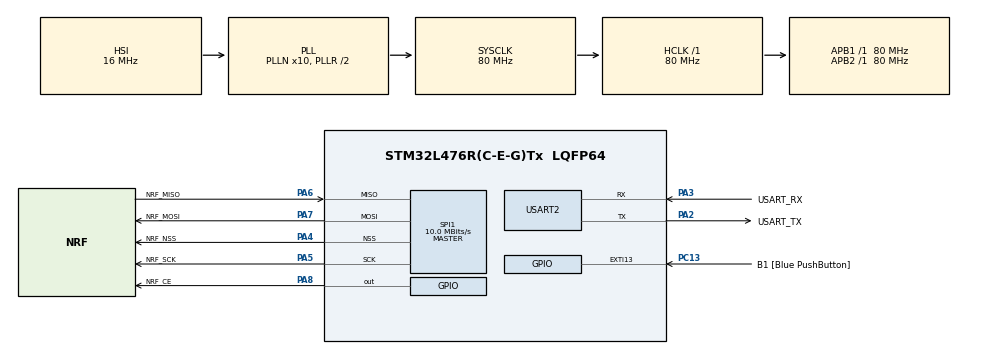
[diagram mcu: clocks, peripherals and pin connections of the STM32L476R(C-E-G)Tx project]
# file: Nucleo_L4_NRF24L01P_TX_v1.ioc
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Mcu.Family=STM32L4
Mcu.Name=STM32L476R(C-E-G)Tx
Mcu.Package=LQFP64
NVIC.PriorityGroup=NVIC_PRIORITYGROUP_4
PA13\ (JTMS-SWDIO).GPIO_Label=TMS
PA13\ (JTMS-SWDIO).Mode=Serial_Wire
PA13\ (JTMS-SWDIO).Signal=SYS_JTMS-SWDIO
PA14\ (JTCK-SWCLK).GPIO_Label=TCK
PA14\ (JTCK-SWCLK).Mode=Serial_Wire
PA14\ (JTCK-SWCLK).Signal=SYS_JTCK-SWCLK
PA2.GPIO_Label=USART_TX
PA2.GPIO_Mode=GPIO_MODE_AF_PP
PA2.GPIO_PuPd=GPIO_NOPULL
PA2.GPIO_Speed=GPIO_SPEED_FREQ_VERY_HIGH
PA2.Mode=Asynchronous
PA2.Signal=USART2_TX
PA3.GPIO_Label=USART_RX
PA3.GPIO_Mode=GPIO_MODE_AF_PP
PA3.GPIO_PuPd=GPIO_NOPULL
PA3.GPIO_Speed=GPIO_SPEED_FREQ_VERY_HIGH
PA3.Mode=Asynchronous
PA3.Signal=USART2_RX
PA4.GPIO_Label=NRF_NSS
PA4.Mode=NSS_Signal_Hard_Output
PA4.Signal=SPI1_NSS
PA5.GPIO_Label=NRF_SCK
PA5.Mode=Full_Duplex_Master
PA5.Signal=SPI1_SCK
PA6.GPIO_Label=NRF_MISO
PA6.Mode=Full_Duplex_Master
PA6.Signal=SPI1_MISO
PA7.GPIO_Label=NRF_MOSI
PA7.Mode=Full_Duplex_Master
PA7.Signal=SPI1_MOSI
PA8.GPIO_Label=NRF_CE
PA8.Signal=GPIO_Output
PB3\ (JTDO-TRACESWO).GPIO_Label=SWO
PB3\ (JTDO-TRACESWO).Signal=SYS_JTDO-SWO
PC13.GPIO_Label=B1 [Blue PushButton]
PC13.GPIO_ModeDefaultEXTI=GPIO_MODE_IT_FALLING
PC13.GPIO_PuPd=GPIO_NOPULL
PC13.Signal=GPXTI13
PC14-OSC32_IN\ (PC14).Mode=LSE-External-Oscillator
PC14-OSC32_IN\ (PC14).Signal=RCC_OSC32_IN
PC15-OSC32_OUT\ (PC15).Mode=LSE-External-Oscillator
PC15-OSC32_OUT\ (PC15).Signal=RCC_OSC32_OUT
PH0-OSC_IN\ (PH0).Signal=RCC_OSC_IN
PH1-OSC_OUT\ (PH1).Signal=RCC_OSC_OUT
ProjectManager.HeapSize=0x200
ProjectManager.StackSize=0x400
ProjectManager.TargetToolchain=SW4STM32
RCC.ADCFreq_Value=64000000
RCC.AHBFreq_Value=80000000
RCC.APB1Freq_Value=80000000
RCC.APB1TimFreq_Value=80000000
RCC.APB2Freq_Value=80000000
RCC.APB2TimFreq_Value=80000000
RCC.CortexFreq_Value=80000000
RCC.HCLKFreq_Value=80000000
RCC.HSE_VALUE=8000000
RCC.HSI_VALUE=16000000
RCC.MSI_VALUE=4000000
RCC.PLLN=10
RCC.PLLSourceVirtual=RCC_PLLSOURCE_HSI
RCC.PREFETCH_ENABLE=1
RCC.SYSCLKFreq_VALUE=80000000
RCC.SYSCLKSource=RCC_SYSCLKSOURCE_PLLCLK
RCC.USBFreq_Value=64000000
RCC.VCOOutputFreq_Value=160000000
SPI1.BaudRatePrescaler=SPI_BAUDRATEPRESCALER_8
SPI1.CalculateBaudRate=10.0 MBits/s
SPI1.DataSize=SPI_DATASIZE_8BIT
SPI1.Direction=SPI_DIRECTION_2LINES
SPI1.Mode=SPI_MODE_MASTER
SPI1.VirtualNSS=VM_NSSHARD
SPI1.VirtualType=VM_MASTER
USART2.VirtualMode-Asynchronous=VM_ASYNC
USART2.WordLength=WORDLENGTH_8B
board=NUCLEO-L476RG

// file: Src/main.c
/**
  ******************************************************************************
  * @file           : main.c
  * @brief          : Main program body
  ******************************************************************************
  ** This notice applies to any and all portions of this file
  * that are not between comment pairs USER CODE BEGIN and
  * USER CODE END. Other portions of this file, whether
  * inserted by the user or by software development tools
  * are owned by their respective copyright owners.
  *
  * COPYRIGHT(c) 2018 STMicroelectronics
  *
  * Redistribution and use in source and binary forms, with or without modification,
  * are permitted provided that the following conditions are met:
  *   1. Redistributions of source code must retain the above copyright notice,
  *      this list of conditions and the following disclaimer.
  *   2. Redistributions in binary form must reproduce the above copyright notice,
  *      this list of conditions and the following disclaimer in the documentation
  *      and/or other materials provided with the distribution.
  *   3. Neither the name of STMicroelectronics nor the names of its contributors
  *      may be used to endorse or promote products derived from this software
  *      without specific prior written permission.
  *
  * THIS SOFTWARE IS PROVIDED BY THE COPYRIGHT HOLDERS AND CONTRIBUTORS "AS IS"
  * AND ANY EXPRESS OR IMPLIED WARRANTIES, INCLUDING, BUT NOT LIMITED TO, THE
  * IMPLIED WARRANTIES OF MERCHANTABILITY AND FITNESS FOR A PARTICULAR PURPOSE ARE
  * DISCLAIMED. IN NO EVENT SHALL THE COPYRIGHT HOLDER OR CONTRIBUTORS BE LIABLE
  * FOR ANY DIRECT, INDIRECT, INCIDENTAL, SPECIAL, EXEMPLARY, OR CONSEQUENTIAL
  * DAMAGES (INCLUDING, BUT NOT LIMITED TO, PROCUREMENT OF SUBSTITUTE GOODS OR
  * SERVICES; LOSS OF USE, DATA, OR PROFITS; OR BUSINESS INTERRUPTION) HOWEVER
  * CAUSED AND ON ANY THEORY OF LIABILITY, WHETHER IN CONTRACT, STRICT LIABILITY,
  * OR TORT (INCLUDING NEGLIGENCE OR OTHERWISE) ARISING IN ANY WAY OUT OF THE USE
  * OF THIS SOFTWARE, EVEN IF ADVISED OF THE POSSIBILITY OF SUCH DAMAGE.
  *
  ******************************************************************************
  */
#include "main.h"
#include "stm32l4xx_hal.h"

/* USER CODE BEGIN Includes */
#include <nRF24L01P.h>
#include <string.h>

#define true 1
#define false 0
uint8_t dataOut[32], dataIn[32];
/* My address */
uint8_t MyAddress[] = {
    0xE7,
	0xE7,
	0xE7,
	0xE7,
	0xE7
};
/* Receiver address */
uint8_t TxAddress[] = {
		0xE7,
		0xE7,
		0xE7,
		0xE7,
		0xE7
};
TM_NRF24L01_Transmit_Status_t transmissionStatus;
/* USER CODE END Includes */

SPI_HandleTypeDef hspi1;

UART_HandleTypeDef huart2;

/* USER CODE BEGIN PV */
/* Private variables ---------------------------------------------------------*/

/* USER CODE END PV */

void SystemClock_Config(void);
static void MX_GPIO_Init(void);
static void MX_USART2_UART_Init(void);
static void MX_SPI1_Init(void);

/* USER CODE BEGIN PFP */
/* Private function prototypes -----------------------------------------------*/
void NRF_Send(void);
/* USER CODE END PFP */

int main(void)
{

  /* MCU Configuration----------------------------------------------------------*/

  /* Reset of all peripherals, Initializes the Flash interface and the Systick. */
  HAL_Init();

  /* Configure the system clock */
  SystemClock_Config();

  /* Initialize all configured peripherals */
  MX_GPIO_Init();
  MX_USART2_UART_Init();
  MX_SPI1_Init();
  /* USER CODE BEGIN 2 */

	if (HAL_SPIEx_FlushRxFifo(&hspi1)){
		Error_Handler();
	}

  char WELCOME_MSG[]="Welcome to STM32 RX\r\n";
  HAL_UART_Transmit(&huart2, (uint8_t*)WELCOME_MSG, strlen(WELCOME_MSG), HAL_MAX_DELAY);

  TM_NRF24L01_SoftwareReset(&hspi1);
  TM_NRF24L01_Init(&hspi1, 76, 32);
  TM_NRF24L01_setCrcWidth(&hspi1, 8);

  TM_NRF24L01_disableAutoAcknowledge(&hspi1);
  TM_NRF24L01_SetMyAddress(&hspi1,MyAddress);
  TM_NRF24L01_SetTxAddress(&hspi1,TxAddress);
  TM_NRF24L01_SetChannel(&hspi1, 50);
  TM_NRF24L01_SetRF(&hspi1, TM_NRF24L01_DataRate_1M, TM_NRF24L01_OutputPower_M18dBm);

  /* Set my address, 5 bytes */
  TM_NRF24L01_SetMyAddress(&hspi1,MyAddress);
  /* Set TX address, 5 bytes */

  TM_NRF24L01_SetTxAddress(&hspi1,TxAddress);
  //TM_NRF24L01_SetTxAddress(&hspi1,TxAddress);
  TM_NRF24L01_PowerUpTx(&hspi1);
  /* USER CODE END 2 */

  /* Infinite loop */
  while (1)
  {

  /* USER CODE BEGIN 3 */
  NRF_Send();
  HAL_Delay(2000);
  }
  /* USER CODE END 3 */

}

void SystemClock_Config(void)
{

  RCC_OscInitTypeDef RCC_OscInitStruct;
  RCC_ClkInitTypeDef RCC_ClkInitStruct;
  RCC_PeriphCLKInitTypeDef PeriphClkInit;

    /**Initializes the CPU, AHB and APB busses clocks
    */
  RCC_OscInitStruct.OscillatorType = RCC_OSCILLATORTYPE_HSI;
  RCC_OscInitStruct.HSIState = RCC_HSI_ON;
  RCC_OscInitStruct.HSICalibrationValue = 16;
  RCC_OscInitStruct.PLL.PLLState = RCC_PLL_ON;
  RCC_OscInitStruct.PLL.PLLSource = RCC_PLLSOURCE_HSI;
  RCC_OscInitStruct.PLL.PLLN = 10;
  RCC_OscInitStruct.PLL.PLLP = RCC_PLLP_DIV7;
  RCC_OscInitStruct.PLL.PLLQ = RCC_PLLQ_DIV2;
  RCC_OscInitStruct.PLL.PLLR = RCC_PLLR_DIV2;
  if (HAL_RCC_OscConfig(&RCC_OscInitStruct) != HAL_OK)
  {
    _Error_Handler(__FILE__, __LINE__);
  }

    /**Initializes the CPU, AHB and APB busses clocks
    */
  RCC_ClkInitStruct.ClockType = RCC_CLOCKTYPE_HCLK|RCC_CLOCKTYPE_SYSCLK
                              |RCC_CLOCKTYPE_PCLK1|RCC_CLOCKTYPE_PCLK2;
  RCC_ClkInitStruct.SYSCLKSource = RCC_SYSCLKSOURCE_PLLCLK;
  RCC_ClkInitStruct.AHBCLKDivider = RCC_SYSCLK_DIV1;
  RCC_ClkInitStruct.APB1CLKDivider = RCC_HCLK_DIV1;
  RCC_ClkInitStruct.APB2CLKDivider = RCC_HCLK_DIV1;

  if (HAL_RCC_ClockConfig(&RCC_ClkInitStruct, FLASH_LATENCY_4) != HAL_OK)
  {
    _Error_Handler(__FILE__, __LINE__);
  }

  PeriphClkInit.PeriphClockSelection = RCC_PERIPHCLK_USART2;
  PeriphClkInit.Usart2ClockSelection = RCC_USART2CLKSOURCE_PCLK1;
  if (HAL_RCCEx_PeriphCLKConfig(&PeriphClkInit) != HAL_OK)
  {
    _Error_Handler(__FILE__, __LINE__);
  }

    /**Configure the main internal regulator output voltage
    */
  if (HAL_PWREx_ControlVoltageScaling(PWR_REGULATOR_VOLTAGE_SCALE1) != HAL_OK)
  {
    _Error_Handler(__FILE__, __LINE__);
  }

    /**Configure the Systick interrupt time
    */
  HAL_SYSTICK_Config(HAL_RCC_GetHCLKFreq()/1000);

    /**Configure the Systick
    */
  HAL_SYSTICK_CLKSourceConfig(SYSTICK_CLKSOURCE_HCLK);

  /* SysTick_IRQn interrupt configuration */
  HAL_NVIC_SetPriority(SysTick_IRQn, 0, 0);
}

/* SPI1 init function */
static void MX_SPI1_Init(void)
{

  /* SPI1 parameter configuration*/
  hspi1.Instance = SPI1;
  hspi1.Init.Mode = SPI_MODE_MASTER;
  hspi1.Init.Direction = SPI_DIRECTION_2LINES;
  hspi1.Init.DataSize = SPI_DATASIZE_8BIT;
  hspi1.Init.CLKPolarity = SPI_POLARITY_LOW;
  hspi1.Init.CLKPhase = SPI_PHASE_1EDGE;
  hspi1.Init.NSS = SPI_NSS_HARD_OUTPUT;
  hspi1.Init.BaudRatePrescaler = SPI_BAUDRATEPRESCALER_8;
  hspi1.Init.FirstBit = SPI_FIRSTBIT_MSB;
  hspi1.Init.TIMode = SPI_TIMODE_DISABLE;
  hspi1.Init.CRCCalculation = SPI_CRCCALCULATION_DISABLE;
  hspi1.Init.CRCPolynomial = 7;
  hspi1.Init.CRCLength = SPI_CRC_LENGTH_DATASIZE;
  hspi1.Init.NSSPMode = SPI_NSS_PULSE_ENABLE;
  if (HAL_SPI_Init(&hspi1) != HAL_OK)
  {
    _Error_Handler(__FILE__, __LINE__);
  }

}

/* USART2 init function */
static void MX_USART2_UART_Init(void)
{

  huart2.Instance = USART2;
  huart2.Init.BaudRate = 115200;
  huart2.Init.WordLength = UART_WORDLENGTH_8B;
  huart2.Init.StopBits = UART_STOPBITS_1;
  huart2.Init.Parity = UART_PARITY_NONE;
  huart2.Init.Mode = UART_MODE_TX_RX;
  huart2.Init.HwFlowCtl = UART_HWCONTROL_NONE;
  huart2.Init.OverSampling = UART_OVERSAMPLING_16;
  huart2.Init.OneBitSampling = UART_ONE_BIT_SAMPLE_DISABLE;
  huart2.AdvancedInit.AdvFeatureInit = UART_ADVFEATURE_NO_INIT;
  if (HAL_UART_Init(&huart2) != HAL_OK)
  {
    _Error_Handler(__FILE__, __LINE__);
  }

}

/** Configure pins as
        * Analog
        * Input
        * Output
        * EVENT_OUT
        * EXTI
*/
static void MX_GPIO_Init(void)
{

  GPIO_InitTypeDef GPIO_InitStruct;

  /* GPIO Ports Clock Enable */
  __HAL_RCC_GPIOC_CLK_ENABLE();
  __HAL_RCC_GPIOH_CLK_ENABLE();
  __HAL_RCC_GPIOA_CLK_ENABLE();
  __HAL_RCC_GPIOB_CLK_ENABLE();

  /*Configure GPIO pin Output Level */
  HAL_GPIO_WritePin(NRF_CE_GPIO_Port, NRF_CE_Pin, GPIO_PIN_RESET);

  /*Configure GPIO pin : B1_Pin */
  GPIO_InitStruct.Pin = B1_Pin;
  GPIO_InitStruct.Mode = GPIO_MODE_IT_FALLING;
  GPIO_InitStruct.Pull = GPIO_NOPULL;
  HAL_GPIO_Init(B1_GPIO_Port, &GPIO_InitStruct);

  /*Configure GPIO pin : NRF_CE_Pin */
  GPIO_InitStruct.Pin = NRF_CE_Pin;
  GPIO_InitStruct.Mode = GPIO_MODE_OUTPUT_PP;
  GPIO_InitStruct.Pull = GPIO_NOPULL;
  GPIO_InitStruct.Speed = GPIO_SPEED_FREQ_LOW;
  HAL_GPIO_Init(NRF_CE_GPIO_Port, &GPIO_InitStruct);

}

/* USER CODE BEGIN 4 */
void NRF_Send(void)
{unsigned char buf[20] = {0};
unsigned char i = 0;
 static unsigned char flag=0;
   if(flag==0)
   {
      flag=1;

      for(i=0;i<20;i++)
          buf[i] = 0;
      TM_NRF24L01_Transmit(&hspi1, buf);
      char msg[]="Transmit zeros\r\n";
      HAL_UART_Transmit(&huart2, (uint8_t*)msg, strlen(msg), HAL_MAX_DELAY);
   }
   else
   {
      flag=0;

      for(i=0;i<20;i++)
                  buf[i] = 1;
      TM_NRF24L01_Transmit(&hspi1, buf);
      char msg[]="Transmit ones\r\n";
      HAL_UART_Transmit(&huart2, (uint8_t*)msg, strlen(msg), HAL_MAX_DELAY);
   }

}

/* USER CODE END 4 */

void _Error_Handler(char *file, int line)
{
  while(1)
  {
  }
}

/************************ (C) COPYRIGHT STMicroelectronics *****END OF FILE****/
